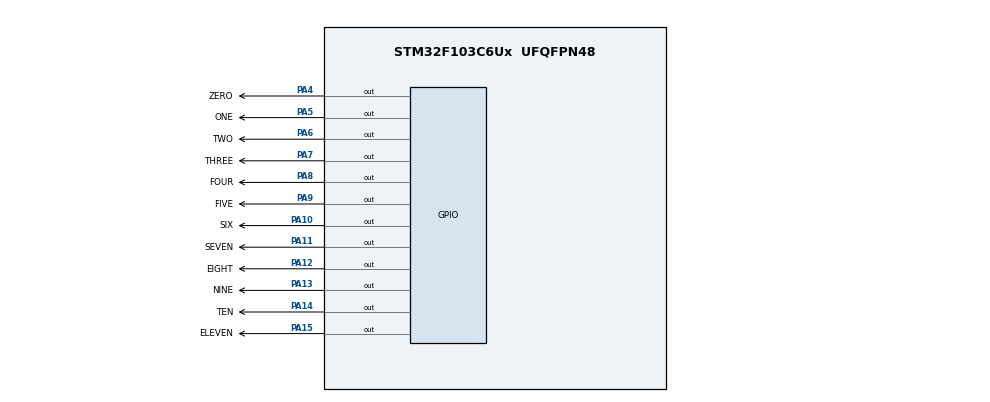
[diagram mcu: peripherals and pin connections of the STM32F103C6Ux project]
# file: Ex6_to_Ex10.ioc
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Mcu.Family=STM32F1
Mcu.Name=STM32F103C6Ux
Mcu.Package=UFQFPN48
NVIC.PriorityGroup=NVIC_PRIORITYGROUP_4
PA10.GPIO_Label=SIX
PA10.Signal=GPIO_Output
PA11.GPIO_Label=SEVEN
PA11.Signal=GPIO_Output
PA12.GPIO_Label=EIGHT
PA12.Signal=GPIO_Output
PA13.GPIO_Label=NINE
PA13.Signal=GPIO_Output
PA14.GPIO_Label=TEN
PA14.Signal=GPIO_Output
PA15.GPIO_Label=ELEVEN
PA15.Signal=GPIO_Output
PA4.GPIO_Label=ZERO
PA4.Signal=GPIO_Output
PA5.GPIO_Label=ONE
PA5.Signal=GPIO_Output
PA6.GPIO_Label=TWO
PA6.Signal=GPIO_Output
PA7.GPIO_Label=THREE
PA7.Signal=GPIO_Output
PA8.GPIO_Label=FOUR
PA8.Signal=GPIO_Output
PA9.GPIO_Label=FIVE
PA9.Signal=GPIO_Output
ProjectManager.HeapSize=0x200
ProjectManager.StackSize=0x400
ProjectManager.TargetToolchain=STM32CubeIDE
RCC.APB1Freq_Value=8000000
RCC.APB2Freq_Value=8000000
VP_SYS_VS_ND.Mode=No_Debug
board=custom

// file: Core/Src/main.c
/* USER CODE BEGIN Header */
/**
  ******************************************************************************
  * @file           : main.c
  * @brief          : Main program body
  ******************************************************************************
  * @attention
  *
  * <h2><center>&copy; Copyright (c) 2022 STMicroelectronics.
  * All rights reserved.</center></h2>
  *
  * This software component is licensed by ST under BSD 3-Clause license,
  * the "License"; You may not use this file except in compliance with the
  * License. You may obtain a copy of the License at:
  *                        opensource.org/licenses/BSD-3-Clause
  *
  ******************************************************************************
  */
/* USER CODE END Header */
#include "main.h"

void SystemClock_Config(void);
static void MX_GPIO_Init(void);

/* USER CODE BEGIN 0 */
void clearAllClock (){
	HAL_GPIO_WritePin(ZERO_GPIO_Port, ZERO_Pin, GPIO_PIN_SET);
	HAL_GPIO_WritePin(ONE_GPIO_Port, ONE_Pin, GPIO_PIN_SET);
	HAL_GPIO_WritePin(TWO_GPIO_Port, TWO_Pin, GPIO_PIN_SET);
	HAL_GPIO_WritePin(THREE_GPIO_Port, THREE_Pin, GPIO_PIN_SET);
	HAL_GPIO_WritePin(FOUR_GPIO_Port, FOUR_Pin, GPIO_PIN_SET);
	HAL_GPIO_WritePin(FIVE_GPIO_Port, FIVE_Pin, GPIO_PIN_SET);
	HAL_GPIO_WritePin(SIX_GPIO_Port, SIX_Pin, GPIO_PIN_SET);
	HAL_GPIO_WritePin(SEVEN_GPIO_Port, SEVEN_Pin, GPIO_PIN_SET);
	HAL_GPIO_WritePin(EIGHT_GPIO_Port, EIGHT_Pin, GPIO_PIN_SET);
	HAL_GPIO_WritePin(NINE_GPIO_Port, NINE_Pin, GPIO_PIN_SET);
	HAL_GPIO_WritePin(TEN_GPIO_Port, TEN_Pin, GPIO_PIN_SET);
	HAL_GPIO_WritePin(ELEVEN_GPIO_Port, ELEVEN_Pin, GPIO_PIN_SET);
}

void setNumberOnClock(int num){
	switch(num){
	  case 0:
		  HAL_GPIO_WritePin(ZERO_GPIO_Port, ZERO_Pin, GPIO_PIN_RESET);
		  break;
	  case 1:
		  HAL_GPIO_WritePin(ONE_GPIO_Port, ONE_Pin, GPIO_PIN_RESET);
		  break;
	  case 2:
		  HAL_GPIO_WritePin(TWO_GPIO_Port, TWO_Pin, GPIO_PIN_RESET);
		  break;
	  case 3:
		  HAL_GPIO_WritePin(THREE_GPIO_Port, THREE_Pin, GPIO_PIN_RESET);
		  break;
	  case 4:
		  HAL_GPIO_WritePin(FOUR_GPIO_Port, FOUR_Pin, GPIO_PIN_RESET);
		  break;
	  case 5:
		  HAL_GPIO_WritePin(FIVE_GPIO_Port, FIVE_Pin, GPIO_PIN_RESET);
		  break;
	  case 6:
		  HAL_GPIO_WritePin(SIX_GPIO_Port, SIX_Pin, GPIO_PIN_RESET);
		  break;
	  case 7:
		  HAL_GPIO_WritePin(SEVEN_GPIO_Port, SEVEN_Pin, GPIO_PIN_RESET);
		  break;
	  case 8:
		  HAL_GPIO_WritePin(EIGHT_GPIO_Port, EIGHT_Pin, GPIO_PIN_RESET);
		  break;
	  case 9:
		  HAL_GPIO_WritePin(NINE_GPIO_Port, NINE_Pin, GPIO_PIN_RESET);
		  break;
	  case 10:
		  HAL_GPIO_WritePin(TEN_GPIO_Port, TEN_Pin, GPIO_PIN_RESET);
		  break;
	  case 11:
		  HAL_GPIO_WritePin(ELEVEN_GPIO_Port, ELEVEN_Pin, GPIO_PIN_RESET);
		  break;
	  default:
		HAL_GPIO_WritePin(ELEVEN_GPIO_Port, ELEVEN_Pin, GPIO_PIN_RESET);
		HAL_GPIO_WritePin(ONE_GPIO_Port, ONE_Pin, GPIO_PIN_RESET);
		  break;
	}
}

void clearNumberOnClock(int num){
	switch(num){
	  case 0:
		  HAL_GPIO_WritePin(ZERO_GPIO_Port, ZERO_Pin, GPIO_PIN_SET);
		  break;
	  case 1:
		  HAL_GPIO_WritePin(ONE_GPIO_Port, ONE_Pin, GPIO_PIN_SET);
		  break;
	  case 2:
		  HAL_GPIO_WritePin(TWO_GPIO_Port, TWO_Pin, GPIO_PIN_SET);
		  break;
	  case 3:
		  HAL_GPIO_WritePin(THREE_GPIO_Port, THREE_Pin, GPIO_PIN_SET);
		  break;
	  case 4:
		  HAL_GPIO_WritePin(FOUR_GPIO_Port, FOUR_Pin, GPIO_PIN_SET);
		  break;
	  case 5:
		  HAL_GPIO_WritePin(FIVE_GPIO_Port, FIVE_Pin, GPIO_PIN_SET);
		  break;
	  case 6:
		  HAL_GPIO_WritePin(SIX_GPIO_Port, SIX_Pin, GPIO_PIN_SET);
		  break;
	  case 7:
		  HAL_GPIO_WritePin(SEVEN_GPIO_Port, SEVEN_Pin, GPIO_PIN_SET);
		  break;
	  case 8:
		  HAL_GPIO_WritePin(EIGHT_GPIO_Port, EIGHT_Pin, GPIO_PIN_SET);
		  break;
	  case 9:
		  HAL_GPIO_WritePin(NINE_GPIO_Port, NINE_Pin, GPIO_PIN_SET);
		  break;
	  case 10:
		  HAL_GPIO_WritePin(TEN_GPIO_Port, TEN_Pin, GPIO_PIN_SET);
		  break;
	  case 11:
		  HAL_GPIO_WritePin(ELEVEN_GPIO_Port, ELEVEN_Pin, GPIO_PIN_SET);
		  break;
	  default:
		HAL_GPIO_WritePin(ELEVEN_GPIO_Port, ELEVEN_Pin, GPIO_PIN_RESET);
		HAL_GPIO_WritePin(ONE_GPIO_Port, ONE_Pin, GPIO_PIN_RESET);
		  break;
	}
}
/* USER CODE END 0 */

int main(void)
{

  /* MCU Configuration--------------------------------------------------------*/

  /* Reset of all peripherals, Initializes the Flash interface and the Systick. */
  HAL_Init();

  /* Configure the system clock */
  SystemClock_Config();

  /* Initialize all configured peripherals */
  MX_GPIO_Init();

  /* Infinite loop */
  /* USER CODE BEGIN WHILE */
  int second=0, minute=0, hour=0;

  while (1)
  {
    /* USER CODE END WHILE */
	  clearAllClock();

	  setNumberOnClock(second);
	  setNumberOnClock(minute);
	  setNumberOnClock(hour);
	  second++;
	  if(second>=12){
		  minute++;
		  second=0;
	  }

	  if(minute>=12){
		  hour++;
		  minute=0;
	  }

	  if(hour >=12){
		  hour=0;
	  }

	  HAL_Delay(5000);
  }
}

void SystemClock_Config(void)
{
  RCC_OscInitTypeDef RCC_OscInitStruct = {0};
  RCC_ClkInitTypeDef RCC_ClkInitStruct = {0};

  /** Initializes the RCC Oscillators according to the specified parameters
  * in the RCC_OscInitTypeDef structure.
  */
  RCC_OscInitStruct.OscillatorType = RCC_OSCILLATORTYPE_HSI;
  RCC_OscInitStruct.HSIState = RCC_HSI_ON;
  RCC_OscInitStruct.HSICalibrationValue = RCC_HSICALIBRATION_DEFAULT;
  RCC_OscInitStruct.PLL.PLLState = RCC_PLL_NONE;
  if (HAL_RCC_OscConfig(&RCC_OscInitStruct) != HAL_OK)
  {
    Error_Handler();
  }
  /** Initializes the CPU, AHB and APB buses clocks
  */
  RCC_ClkInitStruct.ClockType = RCC_CLOCKTYPE_HCLK|RCC_CLOCKTYPE_SYSCLK
                              |RCC_CLOCKTYPE_PCLK1|RCC_CLOCKTYPE_PCLK2;
  RCC_ClkInitStruct.SYSCLKSource = RCC_SYSCLKSOURCE_HSI;
  RCC_ClkInitStruct.AHBCLKDivider = RCC_SYSCLK_DIV1;
  RCC_ClkInitStruct.APB1CLKDivider = RCC_HCLK_DIV1;
  RCC_ClkInitStruct.APB2CLKDivider = RCC_HCLK_DIV1;

  if (HAL_RCC_ClockConfig(&RCC_ClkInitStruct, FLASH_LATENCY_0) != HAL_OK)
  {
    Error_Handler();
  }
}

static void MX_GPIO_Init(void)
{
  GPIO_InitTypeDef GPIO_InitStruct = {0};

  /* GPIO Ports Clock Enable */
  __HAL_RCC_GPIOA_CLK_ENABLE();

  /*Configure GPIO pin Output Level */
  HAL_GPIO_WritePin(GPIOA, ZERO_Pin|ONE_Pin|TWO_Pin|THREE_Pin
                          |FOUR_Pin|FIVE_Pin|SIX_Pin|SEVEN_Pin
                          |EIGHT_Pin|NINE_Pin|TEN_Pin|ELEVEN_Pin, GPIO_PIN_RESET);

  /*Configure GPIO pins : ZERO_Pin ONE_Pin TWO_Pin THREE_Pin
                           FOUR_Pin FIVE_Pin SIX_Pin SEVEN_Pin
                           EIGHT_Pin NINE_Pin TEN_Pin ELEVEN_Pin */
  GPIO_InitStruct.Pin = ZERO_Pin|ONE_Pin|TWO_Pin|THREE_Pin
                          |FOUR_Pin|FIVE_Pin|SIX_Pin|SEVEN_Pin
                          |EIGHT_Pin|NINE_Pin|TEN_Pin|ELEVEN_Pin;
  GPIO_InitStruct.Mode = GPIO_MODE_OUTPUT_PP;
  GPIO_InitStruct.Pull = GPIO_NOPULL;
  GPIO_InitStruct.Speed = GPIO_SPEED_FREQ_LOW;
  HAL_GPIO_Init(GPIOA, &GPIO_InitStruct);

}

void Error_Handler(void)
{
  __disable_irq();
  while (1)
  {
  }
}

/************************ (C) COPYRIGHT STMicroelectronics *****END OF FILE****/
